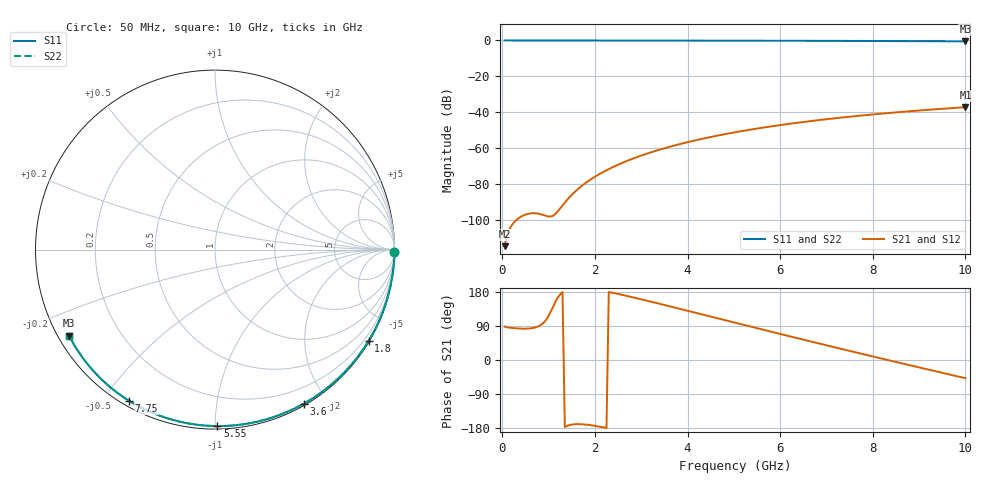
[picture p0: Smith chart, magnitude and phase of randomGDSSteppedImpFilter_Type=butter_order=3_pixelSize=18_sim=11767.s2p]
! freq	dB(S11)	phase(S11)	dB(S12)	phase(S12)
!  dB(S21)	phase(S21)	dB(S22)	phase(S22)
!S-par simulation data
#  GHz  S  DB  R 50
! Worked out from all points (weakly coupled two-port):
!   200 points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, 50 MHz to 10 GHz, reference 50 ohm
!   highest |S21| = -37.14 dB at 10 GHz (marker M1); lowest = -114.4 dB at 50 MHz (marker M2)
!   lowest |S11| = -0.5 dB at 10 GHz (marker M3), VSWR 34.65, Z = 1.55 - j13.6 ohm
!   |S11| at or under -10 dB: nowhere
!   |S22| runs from -0.5 to 0.0 dB; largest |S21 - S12| = 0
!   S11 on the Smith chart (normalised r, x): 50 MHz: open; 1.8 GHz: 0.03, -3.64; 3.6 GHz: 0.02, -1.73; 5.55 GHz: 0.02, -1.01; 7.75 GHz: 0.02, -0.58; 10 GHz: 0.03, -0.27
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0.05  -0.00 -0.9  -114.42 88.1  -114.42 88.1  -0.00 -0.9
0.45  -0.01 -7.8  -97.37 82.7  -97.37 82.7  -0.01 -7.8
0.9  -0.02 -15.5  -97.20 99.4  -97.20 99.4  -0.02 -15.5
1.3  -0.03 -22.3  -91.76 179.0  -91.76 179.0  -0.03 -22.3
1.75  -0.04 -29.9  -80.20 -169.9  -80.20 -169.9  -0.04 -29.9
1.8  -0.04 -30.8  -79.24 -170.4  -79.24 -170.4  -0.04 -30.8
1.95  -0.04 -33.3  -76.60 -172.7  -76.60 -172.7  -0.04 -33.3
2.1  -0.05 -35.7  -74.28 -175.7  -74.28 -175.7  -0.05 -35.7
2.3  -0.05 -39.1  -71.53 179.5  -71.53 179.5  -0.05 -39.0
2.5  -0.05 -42.3  -69.10 174.3  -69.10 174.3  -0.05 -42.3
2.9  -0.06 -48.8  -64.95 163.1  -64.95 163.1  -0.06 -48.8
3.4  -0.07 -56.8  -60.71 148.2  -60.71 148.2  -0.07 -56.8
3.6  -0.08 -59.9  -59.23 142.2  -59.23 142.2  -0.08 -59.9
4.3  -0.10 -70.7  -54.79 120.7  -54.79 120.7  -0.10 -70.7
5.05  -0.13 -81.9  -50.97 97.7  -50.97 97.7  -0.13 -81.9
5.55  -0.15 -89.2  -48.81 82.4  -48.81 82.4  -0.15 -89.2
6.1  -0.17 -97.0  -46.72 65.7  -46.72 65.7  -0.17 -97.0
6.7  -0.20 -105.4  -44.71 47.7  -44.71 47.7  -0.20 -105.4
7.75  -0.28 -119.6  -41.76 16.6  -41.76 16.6  -0.28 -119.6
8.35  -0.33 -127.6  -40.33 -0.8  -40.33 -0.8  -0.33 -127.6
9.2  -0.41 -138.8  -38.56 -25.3  -38.56 -25.3  -0.41 -138.8
10  -0.50 -149.4  -37.14 -48.0  -37.14 -48.0  -0.50 -149.4
